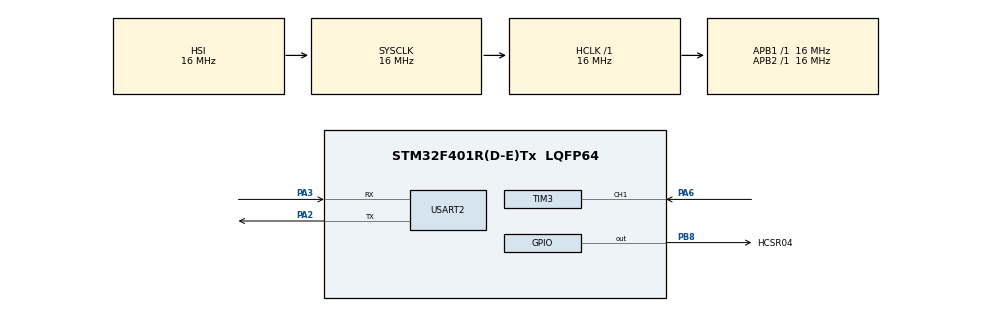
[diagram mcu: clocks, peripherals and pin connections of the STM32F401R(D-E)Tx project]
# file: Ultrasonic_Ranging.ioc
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Mcu.Family=STM32F4
Mcu.Name=STM32F401R(D-E)Tx
Mcu.Package=LQFP64
NVIC.PriorityGroup=NVIC_PRIORITYGROUP_4
NVIC.TIM3_IRQn=true\:0\:0\:false\:false\:true\:true\:true\:true
PA2.Mode=Asynchronous
PA2.Signal=USART2_TX
PA3.Mode=Asynchronous
PA3.Signal=USART2_RX
PA6.Signal=S_TIM3_CH1
PB8.GPIO_Label=HCSR04
PB8.Signal=GPIO_Output
ProjectManager.HeapSize=0x200
ProjectManager.StackSize=0x400
ProjectManager.TargetToolchain=STM32CubeIDE
RCC.AHBFreq_Value=16000000
RCC.APB1Freq_Value=16000000
RCC.APB2Freq_Value=16000000
RCC.CortexFreq_Value=16000000
RCC.HSE_VALUE=25000000
RCC.HSI_VALUE=16000000
RCC.LSE_VALUE=32768
RCC.SYSCLKFreq_VALUE=16000000
RCC.VCOOutputFreq_Value=192000000
SH.S_TIM3_CH1.0=TIM3_CH1,Input_Capture1_from_TI1
TIM3.Channel-Input_Capture1_from_TI1=TIM_CHANNEL_1
TIM3.ICPolarity_CH1=TIM_INPUTCHANNELPOLARITY_BOTHEDGE
TIM3.Period=65536-1
TIM3.Prescaler=16-1
USART2.VirtualMode=VM_ASYNC
VP_TIM3_VS_ClockSourceINT.Mode=Internal
board=custom

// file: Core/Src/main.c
/* USER CODE BEGIN Header */
/**
  ******************************************************************************
  * @file           : main.c
  * @brief          : Main program body
  ******************************************************************************
  * @attention
  *
  * Copyright (c) 2026 STMicroelectronics.
  * All rights reserved.
  *
  * This software is licensed under terms that can be found in the LICENSE file
  * in the root directory of this software component.
  * If no LICENSE file comes with this software, it is provided AS-IS.
  *
  ******************************************************************************
  */
/* USER CODE END Header */

#include "main.h"

/* USER CODE BEGIN Includes */
#include <stdio.h>
#include <string.h>
/* USER CODE END Includes */

TIM_HandleTypeDef htim3;

UART_HandleTypeDef huart2;

void SystemClock_Config(void);
static void MX_GPIO_Init(void);
static void MX_TIM3_Init(void);
static void MX_USART2_UART_Init(void);

/* USER CODE BEGIN 0 */
volatile uint8_t hcsr04_Rx_flag = 0;
volatile uint8_t first_edge = 0;
volatile uint16_t time_edge1 = 0;
volatile uint16_t time_edge2 = 0;
/* USER CODE END 0 */

int main(void)
{

  /* USER CODE BEGIN 1 */
uint16_t time_diff = 0;
uint16_t distance = 0;
uint8_t txd_msg_buffer[64] = {0};

void HCSR04_TRIG_PULSE(void)
{
	HAL_GPIO_WritePin(HCSR04_GPIO_Port,HCSR04_Pin,GPIO_PIN_SET);
	for (volatile int j = 0; j < 13; j++){}
	HAL_GPIO_WritePin(HCSR04_GPIO_Port,HCSR04_Pin,GPIO_PIN_RESET);
}
  /* USER CODE END 1 */

  HAL_Init();

  SystemClock_Config();

  MX_GPIO_Init();
  MX_TIM3_Init();
  MX_USART2_UART_Init();
  /* USER CODE BEGIN 2 */
  HAL_TIM_Base_Init(&htim3);
  HAL_TIM_Base_Start(&htim3);
  HAL_TIM_IC_Start_IT(&htim3, TIM_CHANNEL_1);

  /* USER CODE END 2 */

  /* USER CODE BEGIN WHILE */
  while (1)
  {

      hcsr04_Rx_flag = 0;
      first_edge = 0;
      time_edge1 = 0;
      time_edge2 = 0;
      time_diff = 0;
      distance = 0;

      HCSR04_TRIG_PULSE();

      while (hcsr04_Rx_flag == 0)
      {
      }

      /* Each timer count is 1 us. Account for timer wraparound. */
      if (time_edge2 >= time_edge1)
      {
          time_diff = time_edge2 - time_edge1;
      }
      else
      {
          time_diff = (65536UL - time_edge1) + time_edge2;
      }

      sprintf((char *)txd_msg_buffer,
              "Pulse Width (usec): %u\r\n",
              (unsigned int)time_diff);

      HAL_UART_Transmit(&huart2,
                        txd_msg_buffer,
                        strlen((char *)txd_msg_buffer),
                        100);

      /* HC-SR04 datasheet conversion, result in whole centimetres. */
      distance = time_diff / 58;

      sprintf((char *)txd_msg_buffer,
              "DISTANCE TO OBJECT: %u cm\r\n\r\n",
              (unsigned int)distance);

      HAL_UART_Transmit(&huart2,
                        txd_msg_buffer,
                        strlen((char *)txd_msg_buffer),
                        100);

      HAL_Delay(60);

      /* USER CODE END WHILE */

  }
}

void SystemClock_Config(void)
{
  RCC_OscInitTypeDef RCC_OscInitStruct = {0};
  RCC_ClkInitTypeDef RCC_ClkInitStruct = {0};

  __HAL_RCC_PWR_CLK_ENABLE();
  __HAL_PWR_VOLTAGESCALING_CONFIG(PWR_REGULATOR_VOLTAGE_SCALE2);

  RCC_OscInitStruct.OscillatorType = RCC_OSCILLATORTYPE_HSI;
  RCC_OscInitStruct.HSIState = RCC_HSI_ON;
  RCC_OscInitStruct.HSICalibrationValue = RCC_HSICALIBRATION_DEFAULT;
  RCC_OscInitStruct.PLL.PLLState = RCC_PLL_NONE;
  if (HAL_RCC_OscConfig(&RCC_OscInitStruct) != HAL_OK)
  {
    Error_Handler();
  }

  RCC_ClkInitStruct.ClockType = RCC_CLOCKTYPE_HCLK|RCC_CLOCKTYPE_SYSCLK
                              |RCC_CLOCKTYPE_PCLK1|RCC_CLOCKTYPE_PCLK2;
  RCC_ClkInitStruct.SYSCLKSource = RCC_SYSCLKSOURCE_HSI;
  RCC_ClkInitStruct.AHBCLKDivider = RCC_SYSCLK_DIV1;
  RCC_ClkInitStruct.APB1CLKDivider = RCC_HCLK_DIV1;
  RCC_ClkInitStruct.APB2CLKDivider = RCC_HCLK_DIV1;

  if (HAL_RCC_ClockConfig(&RCC_ClkInitStruct, FLASH_LATENCY_0) != HAL_OK)
  {
    Error_Handler();
  }
}

static void MX_TIM3_Init(void)
{

  TIM_ClockConfigTypeDef sClockSourceConfig = {0};
  TIM_MasterConfigTypeDef sMasterConfig = {0};
  TIM_IC_InitTypeDef sConfigIC = {0};

  htim3.Instance = TIM3;
  htim3.Init.Prescaler = 16-1;
  htim3.Init.CounterMode = TIM_COUNTERMODE_UP;
  htim3.Init.Period = 65536-1;
  htim3.Init.ClockDivision = TIM_CLOCKDIVISION_DIV1;
  htim3.Init.AutoReloadPreload = TIM_AUTORELOAD_PRELOAD_DISABLE;
  if (HAL_TIM_Base_Init(&htim3) != HAL_OK)
  {
    Error_Handler();
  }
  sClockSourceConfig.ClockSource = TIM_CLOCKSOURCE_INTERNAL;
  if (HAL_TIM_ConfigClockSource(&htim3, &sClockSourceConfig) != HAL_OK)
  {
    Error_Handler();
  }
  if (HAL_TIM_IC_Init(&htim3) != HAL_OK)
  {
    Error_Handler();
  }
  sMasterConfig.MasterOutputTrigger = TIM_TRGO_RESET;
  sMasterConfig.MasterSlaveMode = TIM_MASTERSLAVEMODE_DISABLE;
  if (HAL_TIMEx_MasterConfigSynchronization(&htim3, &sMasterConfig) != HAL_OK)
  {
    Error_Handler();
  }
  sConfigIC.ICPolarity = TIM_INPUTCHANNELPOLARITY_BOTHEDGE;
  sConfigIC.ICSelection = TIM_ICSELECTION_DIRECTTI;
  sConfigIC.ICPrescaler = TIM_ICPSC_DIV1;
  sConfigIC.ICFilter = 0;
  if (HAL_TIM_IC_ConfigChannel(&htim3, &sConfigIC, TIM_CHANNEL_1) != HAL_OK)
  {
    Error_Handler();
  }

}

static void MX_USART2_UART_Init(void)
{

  huart2.Instance = USART2;
  huart2.Init.BaudRate = 115200;
  huart2.Init.WordLength = UART_WORDLENGTH_8B;
  huart2.Init.StopBits = UART_STOPBITS_1;
  huart2.Init.Parity = UART_PARITY_NONE;
  huart2.Init.Mode = UART_MODE_TX_RX;
  huart2.Init.HwFlowCtl = UART_HWCONTROL_NONE;
  huart2.Init.OverSampling = UART_OVERSAMPLING_16;
  if (HAL_UART_Init(&huart2) != HAL_OK)
  {
    Error_Handler();
  }

}

static void MX_GPIO_Init(void)
{
  GPIO_InitTypeDef GPIO_InitStruct = {0};

  __HAL_RCC_GPIOA_CLK_ENABLE();
  __HAL_RCC_GPIOB_CLK_ENABLE();

  HAL_GPIO_WritePin(HCSR04_GPIO_Port, HCSR04_Pin, GPIO_PIN_RESET);

  GPIO_InitStruct.Pin = HCSR04_Pin;
  GPIO_InitStruct.Mode = GPIO_MODE_OUTPUT_PP;
  GPIO_InitStruct.Pull = GPIO_NOPULL;
  GPIO_InitStruct.Speed = GPIO_SPEED_FREQ_LOW;
  HAL_GPIO_Init(HCSR04_GPIO_Port, &GPIO_InitStruct);

}

/* USER CODE BEGIN 4 */
void HAL_TIM_IC_CaptureCallback(TIM_HandleTypeDef *htim)
{
	if (htim->Instance == TIM3)
	{
		if (htim->Channel == 1)
		{
			if (first_edge == 0)
			{
				time_edge1 = HAL_TIM_ReadCapturedValue(htim, TIM_CHANNEL_1);
				first_edge = 1;
			}

			else
			{
				time_edge2 = HAL_TIM_ReadCapturedValue(htim, TIM_CHANNEL_1);
				__HAL_TIM_SET_COUNTER(htim, 0);
				hcsr04_Rx_flag = 1;
			}
		}
	}
}
/* USER CODE END 4 */

void Error_Handler(void)
{
  __disable_irq();
  while (1)
  {
  }
}
